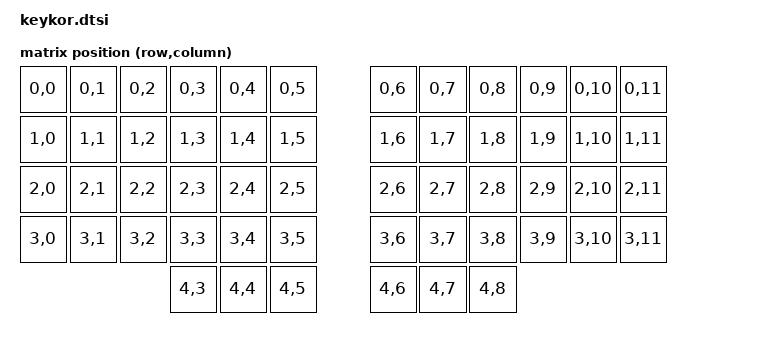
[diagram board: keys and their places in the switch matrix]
#include <dt-bindings/zmk/matrix_transform.h>
#include <zephyr/dt-bindings/gpio/gpio.h>
#include <physical_layouts.dtsi>

// <&key_physical_attrs width height x y rotation rot_x rot_y>
// All values are in 1/100 key units (100 = 1u); rotation in 1/100 degrees.
#define PHYS_KEY(x, y) <&key_physical_attrs 100 100 x y 0 0 0>

/ {
    chosen {
        zmk,kscan = &kscan0;
        zmk,physical-layout = &physical_layout0;
    };

    default_transform: matrix_transform {
        compatible = "zmk,matrix-transform";
        columns = <12>;
        rows = <5>;

 //         | SW1  | SW2   | SW3   | SW4   | SW5  | SW6  |    | SW27  | SW28  | SW29 | SW30  | SW31  | SW32 |
 //         | SW7  | SW8   | SW9   | SW10  | SW11 | SW12 |    | SW33  | SW34  | SW35 | SW36  | SW37  | SW38 |
 //         | SW13 | SW14  | SW15  | SW16  | SW17 | SW18 |    | SW39  | SW40  | SW41 | SW42  | SW43  | SW44 |
 //         | SW19 | SW20  | SW21  | SW21  | SW22 | SW23 |    | SW45  | SW46  | SW47 | SW48  | SW49  | SW50 |
 //                                  | SW24  | SW25 | SW26 |    | SW51  | SW52  | SW53 |
        map = <
            RC(0,0) RC(0,1) RC(0,2) RC(0,3) RC(0,4) RC(0,5)             RC(0,6) RC(0,7) RC(0,8) RC(0,9) RC(0,10) RC(0,11)
            RC(1,0) RC(1,1) RC(1,2) RC(1,3) RC(1,4) RC(1,5)             RC(1,6) RC(1,7) RC(1,8) RC(1,9) RC(1,10) RC(1,11)
            RC(2,0) RC(2,1) RC(2,2) RC(2,3) RC(2,4) RC(2,5)             RC(2,6) RC(2,7) RC(2,8) RC(2,9) RC(2,10) RC(2,11)
            RC(3,0) RC(3,1) RC(3,2) RC(3,3) RC(3,4) RC(3,5)             RC(3,6) RC(3,7) RC(3,8) RC(3,9) RC(3,10) RC(3,11)
                                    RC(4,3) RC(4,4) RC(4,5)             RC(4,6) RC(4,7) RC(4,8)
        >;
    };

    physical_layout0: physical_layout_0 {
        compatible = "zmk,physical-layout";
        display-name = "Default Layout";
        transform = <&default_transform>;

        // Same order as the map above (54 keys).
        keys =
            PHYS_KEY(0,0),    PHYS_KEY(100,0),    PHYS_KEY(200,0),    PHYS_KEY(300,0),    PHYS_KEY(400,0),    PHYS_KEY(500,0),
            PHYS_KEY(700,0),  PHYS_KEY(800,0),    PHYS_KEY(900,0),    PHYS_KEY(1000,0),   PHYS_KEY(1100,0),   PHYS_KEY(1200,0),

            PHYS_KEY(0,100),  PHYS_KEY(100,100),  PHYS_KEY(200,100),  PHYS_KEY(300,100),  PHYS_KEY(400,100),  PHYS_KEY(500,100),
            PHYS_KEY(700,100),PHYS_KEY(800,100),  PHYS_KEY(900,100),  PHYS_KEY(1000,100), PHYS_KEY(1100,100), PHYS_KEY(1200,100),

            PHYS_KEY(0,200),  PHYS_KEY(100,200),  PHYS_KEY(200,200),  PHYS_KEY(300,200),  PHYS_KEY(400,200),  PHYS_KEY(500,200),
            PHYS_KEY(700,200),PHYS_KEY(800,200),  PHYS_KEY(900,200),  PHYS_KEY(1000,200), PHYS_KEY(1100,200), PHYS_KEY(1200,200),

            PHYS_KEY(0,300),  PHYS_KEY(100,300),  PHYS_KEY(200,300),  PHYS_KEY(300,300),  PHYS_KEY(400,300),  PHYS_KEY(500,300),
            PHYS_KEY(700,300),PHYS_KEY(800,300),  PHYS_KEY(900,300),  PHYS_KEY(1000,300), PHYS_KEY(1100,300), PHYS_KEY(1200,300),

            // thumbs: left RC(4,3-5), right RC(4,6-8)
            PHYS_KEY(300,400),PHYS_KEY(400,400),  PHYS_KEY(500,400),
            PHYS_KEY(700,400),PHYS_KEY(800,400),  PHYS_KEY(900,400);
    };
};

// Trackpad events travel from the right half (peripheral) to the left half (central)
/ {
    split_inputs {
        #address-cells = <1>;
        #size-cells = <0>;

        trackpad_split: trackpad@0 {
            compatible = "zmk,input-split";
            reg = <0>;
        };
    };

    // Disabled here so the keymap can reference it on both builds; enabled on the central in keykor_left.overlay
    trackpad_listener: trackpad_listener {
        compatible = "zmk,input-listener";
        status = "disabled";
        device = <&trackpad_split>;
    };
};
